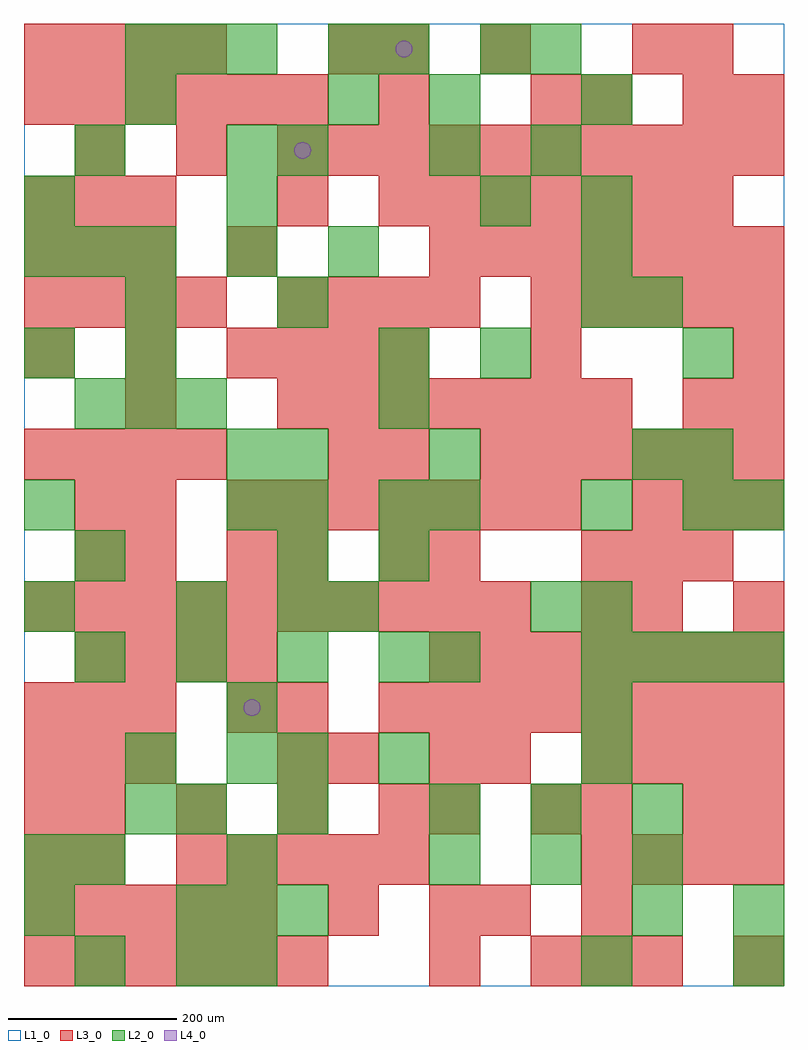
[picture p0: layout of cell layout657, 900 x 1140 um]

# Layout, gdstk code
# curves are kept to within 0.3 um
import gdstk
lib = gdstk.Library(unit=1e-6, precision=1e-09)
def R(c, l, rs):  # rectangles x0, y0, x1, y1
    for r in rs: c.add(gdstk.rectangle(r[:2], r[2:], *l))
def A(c, l, x, y, w, h, nx, ny, dx, dy):  # array of equal rectangles
    R(c, l, [(x+i*dx, y+j*dy, x+i*dx+w, y+j*dy+h) for i in range(nx) for j in range(ny)])
def P(c, l, *ps):  # polygons
    for p in ps: c.add(gdstk.Polygon(p, *l))
L1_0 = (1, 0)
L2_0 = (2, 0)
L3_0 = (3, 0)
L4_0 = (4, 0)

layout657 = lib.new_cell('layout657')
R(layout657, L1_0, [(0,0,900,1140)])
A(layout657, L2_0, 240, 0, 60, 60, 1, 3, 0, 120)
A(layout657, L2_0, 180, 60, 60, 60, 3, 1, 60, 0)
A(layout657, L2_0, 480, 120, 60, 60, 3, 2, 120, 60)
A(layout657, L2_0, 660, 300, 60, 60, 1, 3, 0, 120)
A(layout657, L2_0, 60, 360, 60, 60, 4, 1, 120, 0)
A(layout657, L2_0, 660, 360, 60, 60, 4, 1, 60, 0)
A(layout657, L2_0, 300, 420, 60, 60, 1, 4, 0, 60)
A(layout657, L2_0, 0, 540, 60, 60, 1, 3, 0, 180)
A(layout657, L2_0, 60, 660, 60, 60, 3, 1, 60, 0)
A(layout657, L2_0, 540, 720, 60, 60, 1, 3, 0, 180)
A(layout657, L2_0, 660, 780, 60, 60, 1, 3, 0, 60)
A(layout657, L2_0, 0, 840, 60, 60, 3, 1, 60, 0)
A(layout657, L2_0, 240, 840, 60, 60, 1, 3, 0, 60)
A(layout657, L2_0, 120, 1080, 60, 60, 3, 1, 60, 0)
R(layout657, L2_0, [(60,0,120,60), (180,0,240,60), (660,0,720,60), (840,0,900,60), (0,60,60,120), (720,60,780,120), (840,60,900,120), (0,120,60,180), (60,120,120,180), (120,180,180,240), (180,180,240,240), (300,180,360,240), (120,240,180,300), (300,240,360,300), (420,240,480,300), (660,240,720,300), (240,300,300,360), (480,360,540,420), (0,420,60,480), (180,420,240,480), (360,420,420,480), (600,420,660,480), (60,480,120,540), (420,480,480,540), (240,540,300,600), (420,540,480,600), (480,540,540,600), (780,540,840,600), (840,540,900,600), (240,600,300,660), (480,600,540,660), (720,600,780,660), (780,600,840,660), (420,660,480,720), (120,720,180,780), (420,720,480,780), (780,720,840,780), (120,780,180,840), (300,780,360,840), (720,780,780,840), (360,840,420,900), (60,960,120,1020), (300,960,360,1020), (480,960,540,1020), (600,960,660,1020), (120,1020,180,1080), (360,1020,420,1080), (480,1020,540,1080), (660,1020,720,1080), (360,1080,420,1140), (420,1080,480,1140), (600,1080,660,1140)])
A(layout657, L3_0, 0, 0, 60, 60, 6, 2, 60, 1020)
A(layout657, L3_0, 600, 0, 60, 60, 3, 1, 60, 0)
A(layout657, L3_0, 0, 60, 60, 60, 5, 1, 60, 0)
A(layout657, L3_0, 180, 120, 60, 60, 5, 1, 60, 0)
A(layout657, L3_0, 660, 120, 60, 60, 4, 2, 60, 120)
A(layout657, L3_0, 60, 180, 60, 60, 4, 1, 120, 0)
A(layout657, L3_0, 840, 180, 60, 60, 1, 3, 0, 240)
A(layout657, L3_0, 0, 240, 60, 60, 3, 2, 60, 60)
A(layout657, L3_0, 420, 300, 60, 60, 8, 1, 60, 0)
A(layout657, L3_0, 60, 360, 60, 60, 4, 1, 60, 0)
A(layout657, L3_0, 480, 360, 60, 60, 7, 2, 60, 480)
A(layout657, L3_0, 0, 420, 60, 60, 10, 1, 60, 0)
A(layout657, L3_0, 660, 480, 60, 60, 3, 1, 60, 0)
A(layout657, L3_0, 240, 540, 60, 60, 7, 1, 60, 0)
A(layout657, L3_0, 720, 540, 60, 60, 3, 1, 60, 0)
A(layout657, L3_0, 0, 600, 60, 60, 4, 2, 60, 180)
A(layout657, L3_0, 540, 600, 60, 60, 6, 1, 60, 0)
A(layout657, L3_0, 300, 660, 60, 60, 7, 1, 60, 0)
A(layout657, L3_0, 0, 720, 60, 60, 3, 1, 120, 0)
A(layout657, L3_0, 300, 720, 60, 60, 3, 1, 60, 0)
A(layout657, L3_0, 300, 780, 60, 60, 4, 1, 60, 0)
A(layout657, L3_0, 600, 780, 60, 60, 5, 1, 60, 0)
A(layout657, L3_0, 0, 840, 60, 60, 3, 2, 60, 60)
A(layout657, L3_0, 420, 900, 60, 60, 7, 1, 60, 0)
A(layout657, L3_0, 60, 960, 60, 60, 3, 1, 120, 0)
A(layout657, L3_0, 360, 960, 60, 60, 9, 1, 60, 0)
A(layout657, L3_0, 0, 1080, 60, 60, 4, 1, 60, 0)
R(layout657, L3_0, [(480,0,540,60), (840,0,900,60), (360,60,420,120), (480,60,540,120), (540,60,600,120), (660,60,720,120), (0,120,60,180), (60,120,120,180), (0,180,60,240), (480,180,540,240), (600,180,660,240), (660,180,720,240), (780,180,840,240), (300,240,360,300), (360,240,420,300), (480,240,540,300), (540,240,600,300), (240,300,300,360), (300,300,360,360), (660,420,720,480), (720,420,780,480), (60,480,120,540), (120,480,180,540), (240,480,300,540), (300,480,360,540), (420,480,480,540), (480,480,540,540), (60,540,120,600), (120,540,180,600), (360,600,420,660), (420,600,480,660), (120,660,180,720), (780,660,840,720), (600,720,660,780), (840,720,900,780), (240,840,300,900), (300,900,360,960), (420,1020,480,1080), (600,1020,660,1080), (660,1020,720,1080), (780,1020,840,1080), (840,1020,900,1080), (360,1080,420,1140), (420,1080,480,1140), (540,1080,600,1140), (720,1080,780,1140), (780,1080,840,1140)])
P(layout657, L4_0, [(280,330),(279.239,333.827),(277.071,337.071),(273.827,339.239),(270,340),(266.173,339.239),(262.929,337.071),(260.761,333.827),(260,330),(260.761,326.173),(262.929,322.929),(266.173,320.761),(270,320),(273.827,320.761),(277.071,322.929),(279.239,326.173)],
  [(340,990),(339.239,993.827),(337.071,997.071),(333.827,999.239),(330,1000),(326.173,999.239),(322.929,997.071),(320.761,993.827),(320,990),(320.761,986.173),(322.929,982.929),(326.173,980.761),(330,980),(333.827,980.761),(337.071,982.929),(339.239,986.173)],
  [(460,1110),(459.239,1113.827),(457.071,1117.071),(453.827,1119.239),(450,1120),(446.173,1119.239),(442.929,1117.071),(440.761,1113.827),(440,1110),(440.761,1106.173),(442.929,1102.929),(446.173,1100.761),(450,1100),(453.827,1100.761),(457.071,1102.929),(459.239,1106.173)])

lib.write_gds('layout657.gds')
